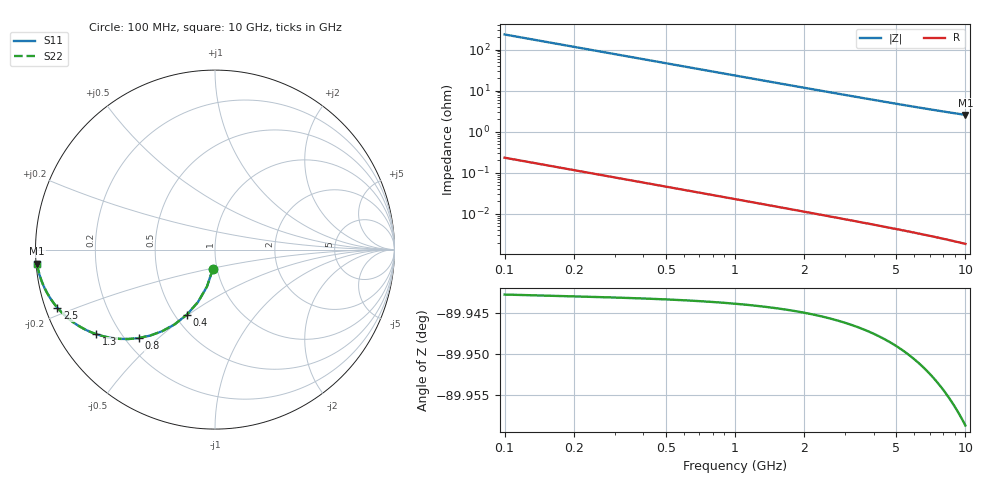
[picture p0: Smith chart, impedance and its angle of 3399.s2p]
# Hz S RI R 50.00
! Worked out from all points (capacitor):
!   100 points, 100 MHz to 10 GHz, reference 50 ohm
!   read as one part in shunt: C = 6.85 pF near 100 MHz
!   lowest |Z| = 2.57 ohm at 10 GHz (marker M1)
!   S11 on the Smith chart (normalised r, x): 100 MHz: 0.96, -0.21; 400 MHz: 0.57, -0.49; 800 MHz: 0.25, -0.43; 1.3 GHz: 0.11, -0.32; 2.5 GHz: 0.03, -0.18; 10 GHz: 0.00, -0.04
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1e8  -0.0115 -0.1062  0.9884 -0.1064  0.9884 -0.1064  -0.0115 -0.1062
2e8  -0.0444 -0.2053  0.9556 -0.2057  0.9556 -0.2057  -0.0444 -0.2053
3e8  -0.0945 -0.2917  0.9054 -0.2924  0.9054 -0.2924  -0.0945 -0.2917
4e8  -0.1564 -0.3623  0.8436 -0.3632  0.8436 -0.3632  -0.1564 -0.3623
5e8  -0.2245 -0.4162  0.7755 -0.4173  0.7755 -0.4173  -0.2245 -0.4162
6e8  -0.294 -0.4545  0.7059 -0.4558  0.7059 -0.4558  -0.294 -0.4545
7e8  -0.3617 -0.4792  0.6383 -0.4808  0.6383 -0.4808  -0.3617 -0.4792
8e8  -0.4252 -0.493  0.5748 -0.4947  0.5748 -0.4947  -0.4252 -0.493
1e9  -0.5359 -0.4971  0.4641 -0.4993  0.4641 -0.4993  -0.5359 -0.4971
1.1e9  -0.5827 -0.4914  0.4173 -0.4938  0.4173 -0.4938  -0.5827 -0.4914
1.3e9  -0.6608 -0.4715  0.3391 -0.4743  0.3391 -0.4743  -0.6608 -0.4715
1.5e9  -0.7216 -0.446  0.2783 -0.4493  0.2783 -0.4493  -0.7216 -0.446
1.8e9  -0.7885 -0.4059  0.2114 -0.4098  0.2114 -0.4098  -0.7885 -0.4059
2.1e9  -0.8352 -0.3681  0.1647 -0.3728  0.1647 -0.3728  -0.8352 -0.3681
2.5e9  -0.8777 -0.3243  0.1222 -0.3299  0.1222 -0.3299  -0.8777 -0.3243
2.9e9  -0.9061 -0.2879  0.0938 -0.2944  0.0938 -0.2944  -0.9061 -0.2879
3.4e9  -0.9298 -0.2511  0.0701 -0.2586  0.0701 -0.2586  -0.9298 -0.2511
4.2e9  -0.9529 -0.2066  0.047 -0.216  0.047 -0.216  -0.9529 -0.2066
5.1e9  -0.9676 -0.1706  0.0323 -0.1822  0.0323 -0.1822  -0.9676 -0.1706
6.7e9  -0.9811 -0.1278  0.0188 -0.1432  0.0188 -0.1432  -0.9811 -0.1278
8.4e9  -0.988 -0.0981  0.0118 -0.1177  0.0118 -0.1177  -0.988 -0.0981
1e10  -0.9916 -0.0781  0.0081 -0.1019  0.0081 -0.1019  -0.9916 -0.0781
